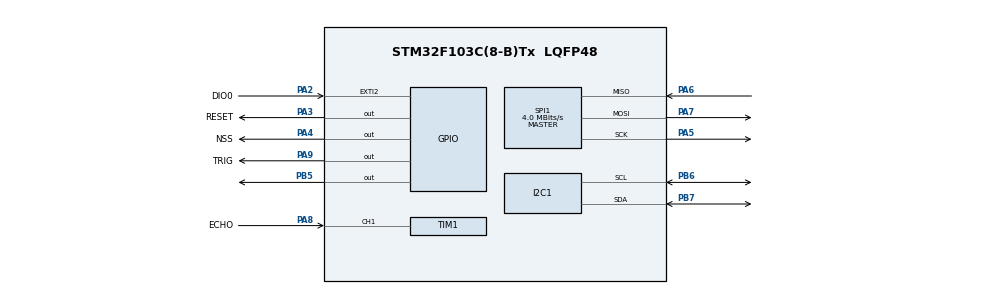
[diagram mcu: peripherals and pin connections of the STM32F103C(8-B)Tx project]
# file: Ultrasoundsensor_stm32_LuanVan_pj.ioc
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I2C1.I2C_Mode=I2C_Fast
Mcu.Family=STM32F1
Mcu.Name=STM32F103C(8-B)Tx
Mcu.Package=LQFP48
NVIC.EXTI2_IRQn=true\:0\:0\:true\:false\:true\:true\:true
NVIC.PriorityGroup=NVIC_PRIORITYGROUP_4
NVIC.TIM1_CC_IRQn=true\:1\:0\:true\:false\:true\:true\:true
PA13.Mode=Serial_Wire
PA13.Signal=SYS_JTMS-SWDIO
PA14.Mode=Serial_Wire
PA14.Signal=SYS_JTCK-SWCLK
PA2.GPIO_Label=DIO0
PA2.GPIO_ModeDefaultEXTI=GPIO_MODE_IT_RISING
PA2.GPIO_PuPd=GPIO_PULLDOWN
PA2.Signal=GPXTI2
PA3.GPIO_Label=RESET
PA3.Signal=GPIO_Output
PA4.GPIO_Label=NSS
PA4.Signal=GPIO_Output
PA5.Mode=Full_Duplex_Master
PA5.Signal=SPI1_SCK
PA6.Mode=Full_Duplex_Master
PA6.Signal=SPI1_MISO
PA7.Mode=Full_Duplex_Master
PA7.Signal=SPI1_MOSI
PA8.GPIO_Label=ECHO
PA8.Signal=S_TIM1_CH1
PA9.GPIO_Label=TRIG
PA9.Signal=GPIO_Output
PB5.PinState=GPIO_PIN_RESET
PB5.Signal=GPIO_Output
PB6.Mode=I2C
PB6.Signal=I2C1_SCL
PB7.Mode=I2C
PB7.Signal=I2C1_SDA
PD0-OSC_IN.Mode=HSE-External-Oscillator
PD0-OSC_IN.Signal=RCC_OSC_IN
PD1-OSC_OUT.Mode=HSE-External-Oscillator
PD1-OSC_OUT.Signal=RCC_OSC_OUT
ProjectManager.HeapSize=0x200
ProjectManager.StackSize=0x400
ProjectManager.TargetToolchain=STM32CubeIDE
RCC.APB1Freq_Value=8000000
RCC.APB2Freq_Value=8000000
SH.S_TIM1_CH1.0=TIM1_CH1,Input_Capture1_from_TI1
SPI1.CalculateBaudRate=4.0 MBits/s
SPI1.Direction=SPI_DIRECTION_2LINES
SPI1.Mode=SPI_MODE_MASTER
SPI1.VirtualType=VM_MASTER
TIM1.Channel-Input_Capture1_from_TI1=TIM_CHANNEL_1
TIM1.Prescaler=8-1
VP_TIM1_VS_ClockSourceINT.Mode=Internal
board=custom

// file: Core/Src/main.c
/* USER CODE BEGIN Header */
/**
  ******************************************************************************
  * @file           : main.c
  * @brief          : Main program body
  ******************************************************************************
  * @attention
  *
  * <h2><center>&copy; Copyright (c) 2020 STMicroelectronics.
  * All rights reserved.</center></h2>
  *
  * This software component is licensed by ST under BSD 3-Clause license,
  * the "License"; You may not use this file except in compliance with the
  * License. You may obtain a copy of the License at:
  *                        opensource.org/licenses/BSD-3-Clause
  *
  ******************************************************************************
  */
/* USER CODE END Header */
#include "main.h"
#include "i2c.h"
#include "spi.h"
#include "tim.h"
#include "gpio.h"

/* USER CODE BEGIN Includes */
#include "ssd1306.h"
#include "fonts.h"
#include "stdio.h"
#include "SX1278.h"
/* USER CODE END Includes */

/* USER CODE BEGIN PD */

uint32_t cap1=0;
uint32_t cap2=0;
uint32_t diff=0;
uint8_t is_fist_capture=0;
uint32_t distance =0;
uint32_t tam;
uint8_t total = 0;
uint8_t medium=0;
int test = 45;
char t[4];
uint32_t sum_distance = 0;
SX1278_hw_t SX1278_hw;
SX1278_t SX1278;
int master;
int ret;
uint8_t buffer[64];
int message_length;
int ret_sent;
int ret;
uint8_t buffsent[64];
int get_adc;
uint8_t flag =0;
/* USER CODE END PD */

void SystemClock_Config(void);
/* USER CODE BEGIN PFP */
int _write(int file, char *ptr, int len) {
	int i;
	for (i = 0; i < len; i++) {
		ITM_SendChar(*ptr++);
	}
	return len;
}// end _write ()

void delay_us (uint16_t us);
void read_SR04();
/* USER CODE END PFP */

int main(void)
{

  /* MCU Configuration--------------------------------------------------------*/

  /* Reset of all peripherals, Initializes the Flash interface and the Systick. */
  HAL_Init();

  /* Configure the system clock */
  SystemClock_Config();

  /* Initialize all configured peripherals */
  MX_GPIO_Init();
  MX_TIM1_Init();
  MX_I2C1_Init();
  MX_SPI1_Init();
  /* USER CODE BEGIN 2 */
//  HAL_TIM_Base_Start(&htim1);
  HAL_TIM_IC_Start_IT(&htim1, TIM_CHANNEL_1);
  SSD1306_Init ();

  SX1278_hw.dio0.port = DIO0_GPIO_Port;
  SX1278_hw.dio0.pin = DIO0_Pin;
  SX1278_hw.nss.port = NSS_GPIO_Port;
  SX1278_hw.nss.pin = NSS_Pin;
  SX1278_hw.reset.port = RESET_GPIO_Port;
  SX1278_hw.reset.pin = RESET_Pin;
  SX1278_hw.spi = &hspi1;
  SX1278.hw = &SX1278_hw;
  SX1278_begin(&SX1278, SX1278_433MHZ, SX1278_POWER_10DBM, SX1278_LORA_SF_10,
    				SX1278_LORA_BW_250KHZ, 10);

  /* USER CODE END 2 */

  /* Infinite loop */
  /* USER CODE BEGIN WHILE */

  SX1278_LoRaEntryRx(&SX1278,16, 2000);
  while (1)
  {

	if(flag == 1){

      for(int i = 0; i<5;i++){
		read_SR04();
//		sum_distance = sum_distance + distance;
		HAL_Delay(70);
      }
//      distance = sum_distance/3 ;
//      sum_distance=0;
	  if (distance < 100){
		  sprintf(t,"%d",distance);
		  t[2]=' ';
		  t[3]=' ';
	  }else if(distance >=100 && distance < 1000){
		  sprintf(t,"%d",distance);
		  t[3]=' ';
	  }else {
		  sprintf(t,"%d",distance);
	  }

	  SSD1306_GotoXY (10,10);  // goto 10, 10
	  SSD1306_Puts ("Distance", &Font_11x18, 1);  // print Hello
	  SSD1306_GotoXY (30, 30);
	  SSD1306_Puts (t, &Font_16x26, 1);
	  SSD1306_UpdateScreen();
	  HAL_Delay(4000);
	  message_length = sprintf(buffsent, "WL:%d", distance);

	  for(int i =0; i < 3; i++){
		  ret_sent = SX1278_LoRaEntryTx(&SX1278, message_length, 1000);
		  ret_sent = SX1278_LoRaTxPacket(&SX1278, (uint8_t* )buffsent, message_length,1000);
	  }
	  SX1278_LoRaEntryRx(&SX1278,16, 1000);
	  flag = 0;
	}// end if
	HAL_GPIO_TogglePin(GPIOB, GPIO_PIN_5);
	HAL_Delay(200);

    /* USER CODE END WHILE */

  }
}

void SystemClock_Config(void)
{
  RCC_OscInitTypeDef RCC_OscInitStruct = {0};
  RCC_ClkInitTypeDef RCC_ClkInitStruct = {0};

  /** Initializes the RCC Oscillators according to the specified parameters
  * in the RCC_OscInitTypeDef structure.
  */
  RCC_OscInitStruct.OscillatorType = RCC_OSCILLATORTYPE_HSI;
  RCC_OscInitStruct.HSIState = RCC_HSI_ON;
  RCC_OscInitStruct.HSICalibrationValue = RCC_HSICALIBRATION_DEFAULT;
  RCC_OscInitStruct.PLL.PLLState = RCC_PLL_NONE;
  if (HAL_RCC_OscConfig(&RCC_OscInitStruct) != HAL_OK)
  {
    Error_Handler();
  }
  /** Initializes the CPU, AHB and APB buses clocks
  */
  RCC_ClkInitStruct.ClockType = RCC_CLOCKTYPE_HCLK|RCC_CLOCKTYPE_SYSCLK
                              |RCC_CLOCKTYPE_PCLK1|RCC_CLOCKTYPE_PCLK2;
  RCC_ClkInitStruct.SYSCLKSource = RCC_SYSCLKSOURCE_HSI;
  RCC_ClkInitStruct.AHBCLKDivider = RCC_SYSCLK_DIV1;
  RCC_ClkInitStruct.APB1CLKDivider = RCC_HCLK_DIV1;
  RCC_ClkInitStruct.APB2CLKDivider = RCC_HCLK_DIV1;

  if (HAL_RCC_ClockConfig(&RCC_ClkInitStruct, FLASH_LATENCY_0) != HAL_OK)
  {
    Error_Handler();
  }
}

/* USER CODE BEGIN 4 */

void delay_us (uint16_t us){
	__HAL_TIM_SET_COUNTER(&htim1,0);
	while(__HAL_TIM_GET_COUNTER(&htim1)<us);
}// end void delay_us ()

void read_SR04(){
		HAL_GPIO_WritePin(TRIG_GPIO_Port, TRIG_Pin, GPIO_PIN_RESET);
		delay_us(2);
		HAL_GPIO_WritePin(TRIG_GPIO_Port, TRIG_Pin, GPIO_PIN_SET);
		delay_us(10);
		HAL_GPIO_WritePin(TRIG_GPIO_Port, TRIG_Pin, GPIO_PIN_RESET);
		__HAL_TIM_ENABLE_IT(&htim1, TIM_IT_CC1);

}// end read_SR04

void HAL_TIM_IC_CaptureCallback (TIM_HandleTypeDef *htim){

	if(htim -> Channel == HAL_TIM_ACTIVE_CHANNEL_1 ){
		if(is_fist_capture == 0){
			cap1 = HAL_TIM_ReadCapturedValue(&htim1, TIM_CHANNEL_1);
			is_fist_capture = 1;
			__HAL_TIM_SET_CAPTUREPOLARITY(&htim1,TIM_CHANNEL_1,TIM_INPUTCHANNELPOLARITY_FALLING);
		}else if(is_fist_capture == 1){
			cap2 = HAL_TIM_ReadCapturedValue(&htim1, TIM_CHANNEL_1);
			__HAL_TIM_SET_COUNTER(&htim1, 0);
			if(cap2 > cap1){
				diff = cap2 - cap1;
			}else if (cap1 > cap2){
				diff = (0xffff - cap1) + cap2;
			}// end else if

			distance = (diff*0.343)/2 + 20;
//		 tam = diff/5.8; //(diff*0.34/2);//
//		 distance = tam + 25;
//		 if(tam < 260){
//			 distance=tam+25;
//		 }else{
//
//			 distance = tam + 130;
//		 }
		 is_fist_capture = 0;
		 __HAL_TIM_SET_CAPTUREPOLARITY(&htim1,TIM_CHANNEL_1,TIM_INPUTCHANNELPOLARITY_RISING);
		 __HAL_TIM_DISABLE_IT(&htim1,TIM_IT_CC1);
		}// end else if
	}// end if

}// end HAL_TIM_IC_CaptureCallback

/* USER CODE END 4 */

void Error_Handler(void)
{
}

/************************ (C) COPYRIGHT STMicroelectronics *****END OF FILE****/
